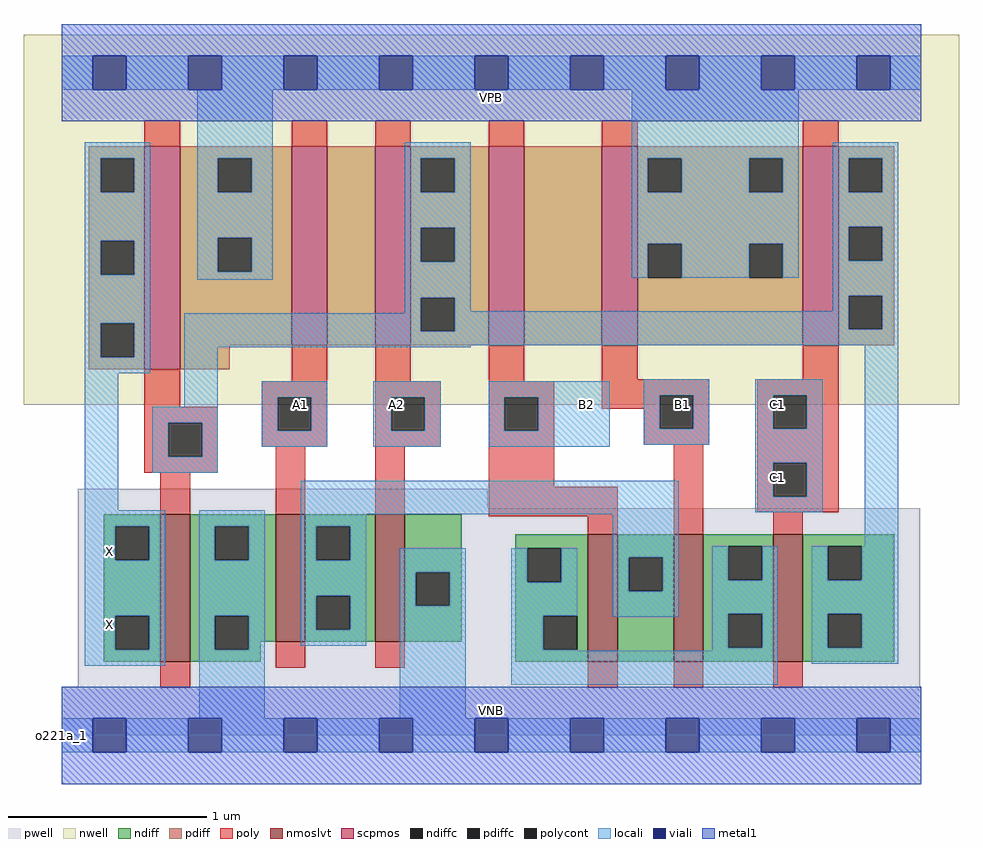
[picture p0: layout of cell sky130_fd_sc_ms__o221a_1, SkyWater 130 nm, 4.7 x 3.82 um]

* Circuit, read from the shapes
.subckt sky130_fd_sc_ms__o221a_1 A1 A2 B1 B2 C1 VGND VNB VPB VPWR X
XM1 VGND n1 X VNB sky130_fd_pr__nfet_01v8_lvt w=0.74 l=0.15
XM2 n2 A1 VGND VNB sky130_fd_pr__nfet_01v8_lvt w=0.64 l=0.15
XM3 VGND A2 n2 VNB sky130_fd_pr__nfet_01v8_lvt w=0.64 l=0.15
XM4 n2 B2 n3 VNB sky130_fd_pr__nfet_01v8_lvt w=0.64 l=0.15
XM5 n3 B1 n2 VNB sky130_fd_pr__nfet_01v8_lvt w=0.64 l=0.15
XM6 n1 C1 n3 VNB sky130_fd_pr__nfet_01v8_lvt w=0.64 l=0.15
XM7 VPWR n1 X VPB sky130_fd_pr__pfet_01v8 w=1.12 l=0.18
XM8 n4 A1 VPWR VPB sky130_fd_pr__pfet_01v8 w=1 l=0.18
XM9 n1 A2 n4 VPB sky130_fd_pr__pfet_01v8 w=1 l=0.18
XM10 n5 B2 n1 VPB sky130_fd_pr__pfet_01v8 w=1 l=0.18
XM11 VPWR B1 n5 VPB sky130_fd_pr__pfet_01v8 w=1 l=0.18
XM12 n1 C1 VPWR VPB sky130_fd_pr__pfet_01v8 w=1 l=0.18
.ends

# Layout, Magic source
magic
tech sky130A
magscale 1 2
<< nwell >>
rect -38 332 902 704
<< pwell >>
rect 16 228 428 248
rect 16 49 863 228
rect 0 0 864 49
<< scpmos >>
rect 83 368 119 592
rect 231 392 267 592
rect 315 392 351 592
rect 429 392 465 592
rect 543 392 579 592
rect 745 392 781 592
<< nmoslvt >>
rect 99 74 129 222
rect 215 94 245 222
rect 315 94 345 222
rect 529 74 559 202
rect 615 74 645 202
rect 715 74 745 202
<< ndiff >>
rect 42 210 99 222
rect 42 176 54 210
rect 88 176 99 210
rect 42 120 99 176
rect 42 86 54 120
rect 88 86 99 120
rect 42 74 99 86
rect 129 210 215 222
rect 129 176 154 210
rect 188 176 215 210
rect 129 120 215 176
rect 129 86 154 120
rect 188 94 215 120
rect 245 210 315 222
rect 245 176 256 210
rect 290 176 315 210
rect 245 140 315 176
rect 245 106 256 140
rect 290 106 315 140
rect 245 94 315 106
rect 345 164 402 222
rect 345 130 356 164
rect 390 130 402 164
rect 345 94 402 130
rect 456 188 529 202
rect 456 154 468 188
rect 502 154 529 188
rect 456 120 529 154
rect 188 86 200 94
rect 129 74 200 86
rect 456 86 484 120
rect 518 86 529 120
rect 456 74 529 86
rect 559 179 615 202
rect 559 145 570 179
rect 604 145 615 179
rect 559 74 615 145
rect 645 190 715 202
rect 645 156 670 190
rect 704 156 715 190
rect 645 122 715 156
rect 645 88 670 122
rect 704 88 715 122
rect 645 74 715 88
rect 745 190 837 202
rect 745 156 770 190
rect 804 156 837 190
rect 745 122 837 156
rect 745 88 770 122
rect 804 88 837 122
rect 745 74 837 88
<< pdiff >>
rect 27 580 83 592
rect 27 546 39 580
rect 73 546 83 580
rect 27 497 83 546
rect 27 463 39 497
rect 73 463 83 497
rect 27 414 83 463
rect 27 380 39 414
rect 73 380 83 414
rect 27 368 83 380
rect 119 580 231 592
rect 119 546 157 580
rect 191 546 231 580
rect 119 500 231 546
rect 119 466 157 500
rect 191 466 231 500
rect 119 392 231 466
rect 267 392 315 592
rect 351 580 429 592
rect 351 546 361 580
rect 395 546 429 580
rect 351 510 429 546
rect 351 476 361 510
rect 395 476 429 510
rect 351 440 429 476
rect 351 406 361 440
rect 395 406 429 440
rect 351 392 429 406
rect 465 392 543 592
rect 579 580 745 592
rect 579 546 589 580
rect 623 546 691 580
rect 725 546 745 580
rect 579 494 745 546
rect 579 460 589 494
rect 623 460 691 494
rect 725 460 745 494
rect 579 392 745 460
rect 781 580 837 592
rect 781 546 791 580
rect 825 546 837 580
rect 781 511 837 546
rect 781 477 791 511
rect 825 477 837 511
rect 781 442 837 477
rect 781 408 791 442
rect 825 408 837 442
rect 781 392 837 408
rect 119 368 169 392
<< ndiffc >>
rect 54 176 88 210
rect 54 86 88 120
rect 154 176 188 210
rect 154 86 188 120
rect 256 176 290 210
rect 256 106 290 140
rect 356 130 390 164
rect 468 154 502 188
rect 484 86 518 120
rect 570 145 604 179
rect 670 156 704 190
rect 670 88 704 122
rect 770 156 804 190
rect 770 88 804 122
<< pdiffc >>
rect 39 546 73 580
rect 39 463 73 497
rect 39 380 73 414
rect 157 546 191 580
rect 157 466 191 500
rect 361 546 395 580
rect 361 476 395 510
rect 361 406 395 440
rect 589 546 623 580
rect 691 546 725 580
rect 589 460 623 494
rect 691 460 725 494
rect 791 546 825 580
rect 791 477 825 511
rect 791 408 825 442
<< poly >>
rect 83 592 119 618
rect 231 592 267 618
rect 315 592 351 618
rect 429 592 465 618
rect 543 592 579 618
rect 745 592 781 618
rect 83 330 119 368
rect 231 356 267 392
rect 201 340 267 356
rect 83 314 157 330
rect 83 280 107 314
rect 141 280 157 314
rect 201 306 217 340
rect 251 306 267 340
rect 201 290 267 306
rect 315 356 351 392
rect 429 356 465 392
rect 543 358 579 392
rect 745 358 781 392
rect 315 340 381 356
rect 315 306 331 340
rect 365 306 381 340
rect 315 290 381 306
rect 429 340 495 356
rect 429 306 445 340
rect 479 306 495 340
rect 543 342 651 358
rect 543 328 601 342
rect 83 264 157 280
rect 99 222 129 264
rect 215 222 245 290
rect 315 222 345 290
rect 429 250 495 306
rect 585 308 601 328
rect 635 308 651 342
rect 585 292 651 308
rect 699 342 781 358
rect 699 308 715 342
rect 749 308 781 342
rect 429 220 559 250
rect 529 202 559 220
rect 615 202 645 292
rect 699 274 781 308
rect 699 240 715 274
rect 749 240 781 274
rect 699 224 781 240
rect 715 202 745 224
rect 99 48 129 74
rect 215 68 245 94
rect 315 68 345 94
rect 529 48 559 74
rect 615 48 645 74
rect 715 48 745 74
<< polycont >>
rect 107 280 141 314
rect 217 306 251 340
rect 331 306 365 340
rect 445 306 479 340
rect 601 308 635 342
rect 715 308 749 342
rect 715 240 749 274
<< locali >>
rect 0 649 31 683
rect 65 649 127 683
rect 161 649 223 683
rect 257 649 319 683
rect 353 649 415 683
rect 449 649 511 683
rect 545 649 607 683
rect 641 649 703 683
rect 737 649 799 683
rect 833 649 864 683
rect 23 580 89 596
rect 23 546 39 580
rect 73 546 89 580
rect 23 497 89 546
rect 23 463 39 497
rect 73 463 89 497
rect 23 414 89 463
rect 136 580 212 649
rect 136 546 157 580
rect 191 546 212 580
rect 136 500 212 546
rect 136 466 157 500
rect 191 466 212 500
rect 136 458 212 466
rect 345 580 411 596
rect 345 546 361 580
rect 395 546 411 580
rect 345 510 411 546
rect 345 476 361 510
rect 395 476 411 510
rect 345 440 411 476
rect 573 580 741 649
rect 573 546 589 580
rect 623 546 691 580
rect 725 546 741 580
rect 573 494 741 546
rect 573 460 589 494
rect 623 460 691 494
rect 725 460 741 494
rect 775 580 841 596
rect 775 546 791 580
rect 825 546 841 580
rect 775 511 841 546
rect 775 477 791 511
rect 825 477 841 511
rect 345 424 361 440
rect 23 380 39 414
rect 73 380 89 414
rect 23 364 89 380
rect 123 406 361 424
rect 395 426 411 440
rect 775 442 841 477
rect 775 426 791 442
rect 395 408 791 426
rect 825 408 841 442
rect 395 406 841 408
rect 123 392 841 406
rect 123 390 411 392
rect 23 226 57 364
rect 123 330 157 390
rect 91 314 157 330
rect 91 280 107 314
rect 141 280 157 314
rect 201 340 267 356
rect 201 306 217 340
rect 251 306 267 340
rect 201 290 267 306
rect 313 340 381 356
rect 313 306 331 340
rect 365 306 381 340
rect 313 290 381 306
rect 429 340 551 356
rect 429 306 445 340
rect 479 306 551 340
rect 429 290 551 306
rect 585 342 651 358
rect 585 308 601 342
rect 635 308 651 342
rect 585 292 651 308
rect 697 342 765 358
rect 697 308 715 342
rect 749 308 765 342
rect 91 264 157 280
rect 697 274 765 308
rect 23 210 104 226
rect 23 176 54 210
rect 88 176 104 210
rect 23 120 104 176
rect 23 86 54 120
rect 88 86 104 120
rect 23 70 104 86
rect 138 210 204 226
rect 138 176 154 210
rect 188 176 204 210
rect 138 120 204 176
rect 138 86 154 120
rect 188 86 204 120
rect 240 222 620 256
rect 697 240 715 274
rect 749 240 765 274
rect 697 224 765 240
rect 240 210 306 222
rect 240 176 256 210
rect 290 176 306 210
rect 240 140 306 176
rect 240 106 256 140
rect 290 106 306 140
rect 240 90 306 106
rect 340 164 406 188
rect 340 130 356 164
rect 390 130 406 164
rect 138 17 204 86
rect 340 17 406 130
rect 452 154 468 188
rect 502 154 518 188
rect 452 120 518 154
rect 452 86 484 120
rect 554 179 620 222
rect 807 190 841 392
rect 554 145 570 179
rect 604 145 620 179
rect 554 119 620 145
rect 654 156 670 190
rect 704 156 720 190
rect 654 122 720 156
rect 452 85 518 86
rect 654 88 670 122
rect 704 88 720 122
rect 654 85 720 88
rect 452 51 720 85
rect 754 156 770 190
rect 804 156 841 190
rect 754 122 841 156
rect 754 88 770 122
rect 804 88 841 122
rect 754 72 841 88
rect 0 -17 31 17
rect 65 -17 127 17
rect 161 -17 223 17
rect 257 -17 319 17
rect 353 -17 415 17
rect 449 -17 511 17
rect 545 -17 607 17
rect 641 -17 703 17
rect 737 -17 799 17
rect 833 -17 864 17
<< viali >>
rect 31 649 65 683
rect 127 649 161 683
rect 223 649 257 683
rect 319 649 353 683
rect 415 649 449 683
rect 511 649 545 683
rect 607 649 641 683
rect 703 649 737 683
rect 799 649 833 683
rect 31 -17 65 17
rect 127 -17 161 17
rect 223 -17 257 17
rect 319 -17 353 17
rect 415 -17 449 17
rect 511 -17 545 17
rect 607 -17 641 17
rect 703 -17 737 17
rect 799 -17 833 17
<< metal1 >>
rect 0 683 864 715
rect 0 649 31 683
rect 65 649 127 683
rect 161 649 223 683
rect 257 649 319 683
rect 353 649 415 683
rect 449 649 511 683
rect 545 649 607 683
rect 641 649 703 683
rect 737 649 799 683
rect 833 649 864 683
rect 0 617 864 649
rect 0 17 864 49
rect 0 -17 31 17
rect 65 -17 127 17
rect 161 -17 223 17
rect 257 -17 319 17
rect 353 -17 415 17
rect 449 -17 511 17
rect 545 -17 607 17
rect 641 -17 703 17
rect 737 -17 799 17
rect 833 -17 864 17
rect 0 -49 864 -17
<< labels >>
flabel pwell s 0 0 864 49 0 FreeSans 200 0 0 0 VNB
port 7 nsew ground bidirectional
flabel nwell s 0 617 864 666 0 FreeSans 200 0 0 0 VPB
port 8 nsew power bidirectional
rlabel comment s 0 0 0 0 4 o221a_1
flabel metal1 s 0 617 864 666 0 FreeSans 340 0 0 0 VPWR
port 9 nsew power bidirectional
flabel metal1 s 0 0 864 49 0 FreeSans 340 0 0 0 VGND
port 6 nsew ground bidirectional
flabel locali s 703 242 737 276 0 FreeSans 340 0 0 0 C1
port 5 nsew signal input
flabel locali s 703 316 737 350 0 FreeSans 340 0 0 0 C1
port 5 nsew signal input
flabel locali s 223 316 257 350 0 FreeSans 340 0 0 0 A1
port 1 nsew signal input
flabel locali s 319 316 353 350 0 FreeSans 340 0 0 0 A2
port 2 nsew signal input
flabel locali s 607 316 641 350 0 FreeSans 340 0 0 0 B1
port 3 nsew signal input
flabel locali s 511 316 545 350 0 FreeSans 340 0 0 0 B2
port 4 nsew signal input
flabel locali s 31 94 65 128 0 FreeSans 340 0 0 0 X
port 10 nsew signal output
flabel locali s 31 168 65 202 0 FreeSans 340 0 0 0 X
port 10 nsew signal output
<< properties >>
string LEFsite unit
string LEFclass CORE
string FIXED_BBOX 0 0 864 666
string GDS_FILE $PDKPATH/libs.ref/sky130_fd_sc_ms/gds/sky130_fd_sc_ms.gds
string LEFsymmetry X Y
string GDS_END 2785644
string GDS_START 2777886
<< end >>
